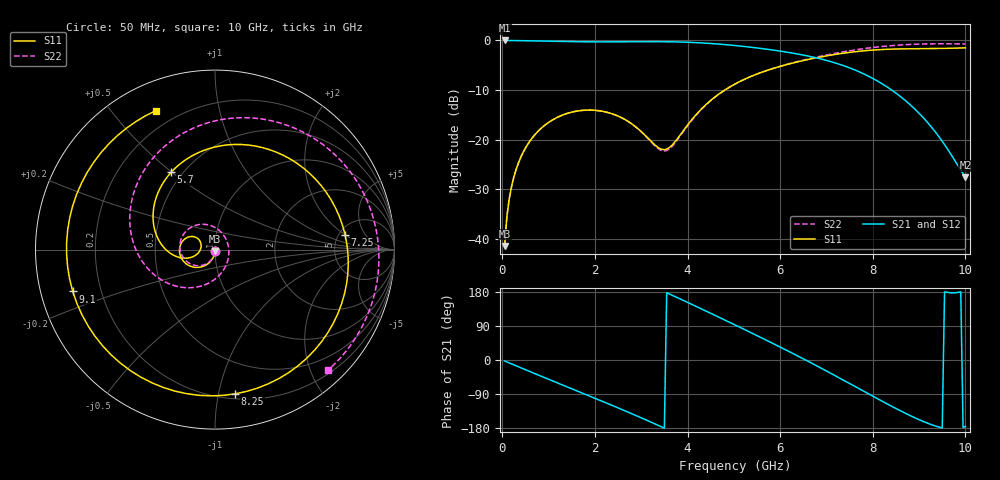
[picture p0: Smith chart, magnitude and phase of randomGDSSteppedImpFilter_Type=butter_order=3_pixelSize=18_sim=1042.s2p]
! freq	dB(S11)	phase(S11)	dB(S12)	phase(S12)
!  dB(S21)	phase(S21)	dB(S22)	phase(S22)
!S-par simulation data
#  GHz  S  DB  R 50
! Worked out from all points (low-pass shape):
!   200 points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, 50 MHz to 10 GHz, reference 50 ohm
!   highest |S21| = -0.01 dB at 50 MHz (marker M1); lowest = -27.6 dB at 10 GHz (marker M2)
!   |S21| within 3 dB of the highest: start of sweep to 6.527 GHz
!   lowest |S11| = -41.5 dB at 50 MHz (marker M3), VSWR 1.02, Z = 50 - j0.841 ohm
!   |S11| at or under -10 dB: start of sweep to 4.806 GHz
!   |S22| runs from -41.5 to -0.7 dB; largest |S21 - S12| = 0
!   S11 on the Smith chart (normalised r, x): 50 MHz: 1.00, -0.02; 5.7 GHz: 0.44, +0.50; 7.25 GHz: 5.66, +2.01; 8.25 GHz: 0.24, -1.12; 9.1 GHz: 0.10, -0.14; 10 GHz: 0.12, +0.65
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0.05  -41.50 -92.1  -0.01 -2.6  -0.01 -2.6  -41.52 -92.5
0.1  -35.48 -94.9  -0.02 -5.2  -0.02 -5.2  -35.50 -95.5
0.2  -29.48 -99.9  -0.03 -10.3  -0.03 -10.3  -29.50 -101.2
0.5  -21.73 -114.6  -0.06 -25.6  -0.06 -25.6  -21.73 -117.6
1.15  -15.70 -145.3  -0.18 -58.4  -0.18 -58.4  -15.71 -153.0
1.75  -14.10 -172.3  -0.27 -88.4  -0.27 -88.4  -14.11 173.9
2.55  -15.47 156.3  -0.28 -128.9  -0.28 -128.9  -15.50 124.5
3.4  -21.81 162.2  -0.25 -174.2  -0.25 -174.2  -22.06 28.4
3.85  -18.98 -163.8  -0.32 160.6  -0.32 160.6  -19.18 -57.5
4.35  -13.37 -169.3  -0.53 132.0  -0.53 132.0  -13.46 -109.1
5.05  -8.67 158.0  -1.05 91.1  -1.05 91.1  -8.70 -157.8
5.7  -6.11 119.6  -1.76 52.4  -1.76 52.4  -6.10 163.2
6.2  -4.73 86.5  -2.45 21.9  -2.45 21.9  -4.69 135.0
6.7  -3.66 50.2  -3.35 -9.6  -3.35 -9.6  -3.54 107.7
7.25  -2.74 6.5  -4.72 -45.5  -4.72 -45.5  -2.49 78.4
7.75  -2.15 -36.5  -6.52 -78.8  -6.52 -78.8  -1.73 52.5
8.25  -1.81 -82.1  -9.03 -112.0  -9.03 -112.0  -1.17 27.5
8.35  -1.78 -91.5  -9.64 -118.4  -9.64 -118.4  -1.09 22.7
8.7  -1.69 -124.9  -12.10 -140.3  -12.10 -140.3  -0.86 6.3
9.1  -1.66 -163.6  -15.69 -162.7  -15.69 -162.7  -0.72 -11.3
9.5  -1.62 158.2  -20.35 -179.1  -20.35 -179.1  -0.68 -27.7
10  -1.50 113.0  -27.63 -175.4  -27.63 -175.4  -0.72 -46.7
